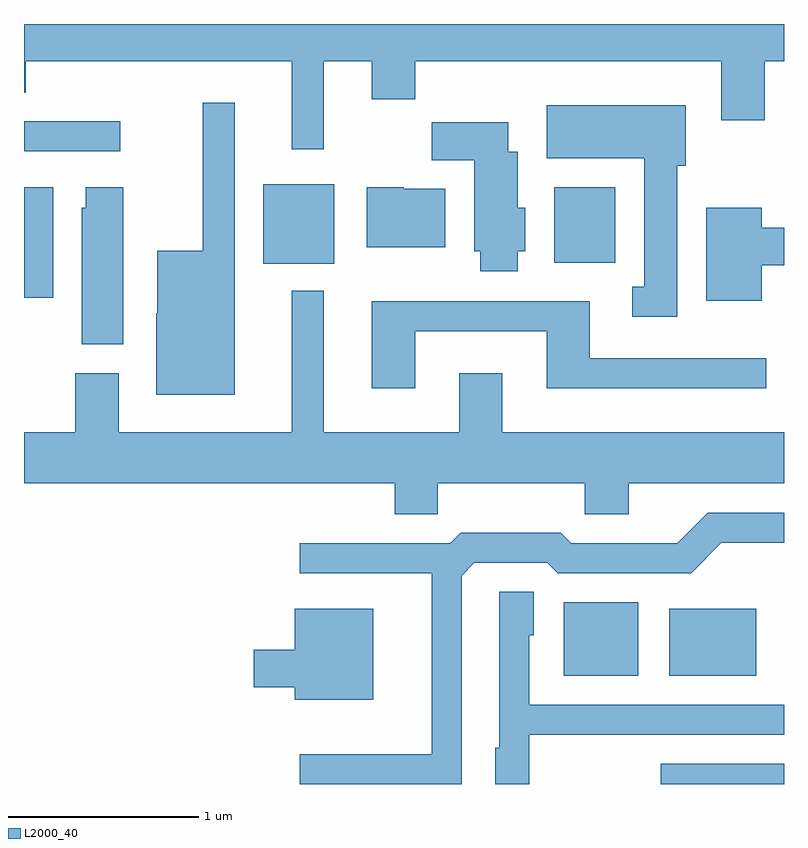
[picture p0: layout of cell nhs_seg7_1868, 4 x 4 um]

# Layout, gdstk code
import gdstk
lib = gdstk.Library(unit=1e-6, precision=1e-09)
def R(c, l, rs):  # rectangles x0, y0, x1, y1
    for r in rs: c.add(gdstk.rectangle(r[:2], r[2:], *l))
def P(c, l, *ps):  # polygons
    for p in ps: c.add(gdstk.Polygon(p, *l))
L2000_40 = (2000, 40)

nhs_seg7_1868 = lib.new_cell('nhs_seg7_1868')
R(nhs_seg7_1868, L2000_40, [(244.961,1748.252,245.611,1748.359), (244.451,1748.821,244.844,1749.209), (245.006,1748.821,245.464,1749.174), (241.611,1750.811,241.764,1751.394), (242.871,1750.991,243.244,1751.409), (244.401,1750.996,244.724,1751.394), (241.611,1751.581,242.118,1751.739)])
P(nhs_seg7_1868, L2000_40, [(241.611,1751.891),(241.619,1751.891),(241.619,1752.056),(243.021,1752.056),(243.021,1751.593),(243.189,1751.593),(243.189,1752.056),(243.441,1752.056),(243.441,1751.856),(243.669,1751.856),(243.669,1752.056),(245.281,1752.056),(245.281,1751.746),(245.509,1751.746),(245.509,1752.056),(245.611,1752.056),(245.611,1752.252),(241.611,1752.252)],
  [(242.719,1751.838),(242.551,1751.838),(242.551,1751.059),(242.311,1751.059),(242.311,1750.73),(242.306,1750.73),(242.306,1750.301),(242.719,1750.301)],
  [(245.049,1751.506),(245.094,1751.506),(245.094,1751.824),(244.361,1751.824),(244.361,1751.546),(244.876,1751.546),(244.876,1750.869),(244.813,1750.869),(244.813,1750.711),(245.049,1750.711)],
  [(244.209,1751.056),(244.249,1751.056),(244.249,1751.284),(244.209,1751.284),(244.209,1751.579),(244.159,1751.579),(244.159,1751.734),(243.756,1751.734),(243.756,1751.536),(243.981,1751.536),(243.981,1751.056),(244.011,1751.056),(244.011,1750.951),(244.209,1750.951)],
  [(243.829,1751.384),(243.61,1751.384),(243.61,1751.394),(243.416,1751.394),(243.416,1751.076),(243.829,1751.076)],
  [(242.134,1751.394),(241.936,1751.394),(241.936,1751.284),(241.916,1751.284),(241.916,1750.566),(242.134,1750.566)],
  [(245.494,1750.981),(245.611,1750.981),(245.611,1751.179),(245.494,1751.179),(245.494,1751.284),(245.201,1751.284),(245.201,1750.796),(245.494,1750.796)],
  [(243.789,1749.836),(244.561,1749.836),(244.561,1749.671),(244.794,1749.671),(244.794,1749.836),(245.611,1749.836),(245.611,1750.104),(244.129,1750.104),(244.129,1750.414),(243.901,1750.414),(243.901,1750.104),(243.189,1750.104),(243.189,1750.848),(243.021,1750.848),(243.021,1750.104),(242.109,1750.104),(242.109,1750.414),(241.881,1750.414),(241.881,1750.104),(241.611,1750.104),(241.611,1749.836),(243.561,1749.836),(243.561,1749.671),(243.789,1749.671)],
  [(243.669,1750.636),(244.361,1750.636),(244.361,1750.336),(245.518,1750.336),(245.518,1750.494),(244.589,1750.494),(244.589,1750.794),(243.441,1750.794),(243.441,1750.336),(243.669,1750.336)],
  [(243.914,1749.349),(243.982,1749.416),(244.364,1749.416),(244.419,1749.361),(245.122,1749.361),(245.282,1749.521),(245.611,1749.521),(245.611,1749.679),(245.209,1749.679),(245.049,1749.519),(244.492,1749.519),(244.437,1749.574),(243.909,1749.574),(243.854,1749.519),(243.063,1749.519),(243.063,1749.361),(243.756,1749.361),(243.756,1748.409),(243.063,1748.409),(243.063,1748.252),(243.914,1748.252)],
  [(244.269,1748.511),(245.611,1748.511),(245.611,1748.669),(244.269,1748.669),(244.269,1749.036),(244.294,1749.036),(244.294,1749.264),(244.111,1749.264),(244.111,1748.444),(244.091,1748.444),(244.091,1748.252),(244.269,1748.252)],
  [(243.449,1749.174),(243.036,1749.174),(243.036,1748.959),(242.821,1748.959),(242.821,1748.761),(243.036,1748.761),(243.036,1748.696),(243.449,1748.696)])

lib.write_gds('nhs_seg7_1868.gds')
